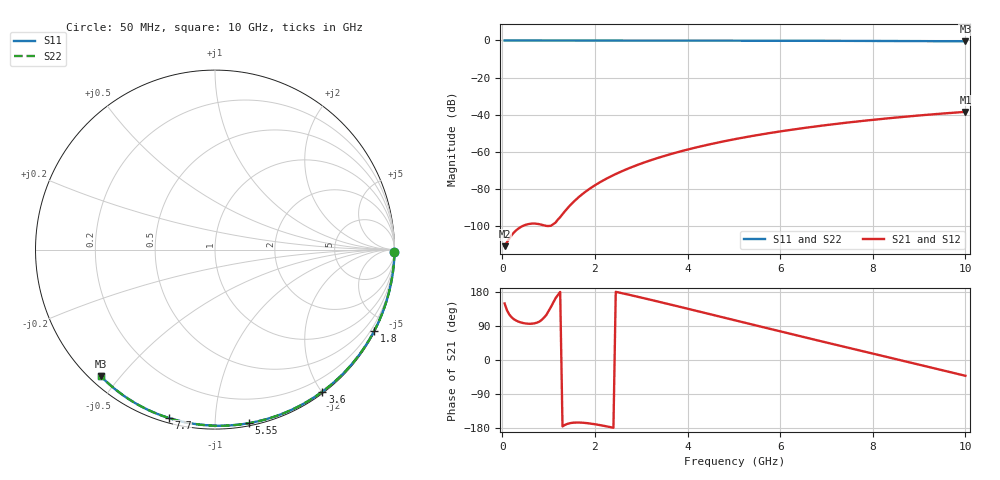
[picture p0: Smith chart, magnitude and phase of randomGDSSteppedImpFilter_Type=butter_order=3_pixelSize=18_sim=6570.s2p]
! freq	dB(S11)	phase(S11)	dB(S12)	phase(S12)
!  dB(S21)	phase(S21)	dB(S22)	phase(S22)
!S-par simulation data
#  GHz  S  DB  R 50
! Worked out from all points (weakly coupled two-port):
!   200 points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, 50 MHz to 10 GHz, reference 50 ohm
!   highest |S21| = -38.47 dB at 10 GHz (marker M1); lowest = -110.8 dB at 50 MHz (marker M2)
!   lowest |S11| = -0.4 dB at 10 GHz (marker M3), VSWR 38.75, Z = 1.55 - j22.3 ohm
!   |S11| at or under -10 dB: nowhere
!   |S22| runs from -0.4 to 0.0 dB; largest |S21 - S12| = 0
!   S11 on the Smith chart (normalised r, x): 50 MHz: open; 1.8 GHz: 0.04, -4.16; 3.6 GHz: 0.02, -2.01; 5.55 GHz: 0.02, -1.21; 7.7 GHz: 0.02, -0.76; 10 GHz: 0.03, -0.45
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0.05  -0.00 -0.8  -110.82 149.1  -110.82 149.1  -0.00 -0.8
0.9  -0.02 -13.6  -99.62 111.7  -99.62 111.7  -0.02 -13.7
1.75  -0.03 -26.3  -82.37 -165.7  -82.37 -165.7  -0.03 -26.3
1.8  -0.03 -27.0  -81.42 -166.2  -81.42 -166.2  -0.03 -27.0
1.85  -0.04 -27.8  -80.52 -166.9  -80.52 -166.9  -0.04 -27.8
1.9  -0.04 -28.5  -79.65 -167.7  -79.65 -167.7  -0.04 -28.5
2.05  -0.04 -30.7  -77.25 -170.5  -77.25 -170.5  -0.04 -30.7
2.25  -0.04 -33.6  -74.43 -175.1  -74.43 -175.1  -0.04 -33.6
2.45  -0.05 -36.5  -71.94 179.9  -71.94 179.9  -0.05 -36.5
2.65  -0.05 -39.4  -69.71 174.6  -69.71 174.6  -0.05 -39.4
3  -0.06 -44.4  -66.30 164.8  -66.30 164.8  -0.06 -44.4
3.4  -0.07 -50.1  -62.96 153.2  -62.96 153.2  -0.07 -50.1
3.6  -0.07 -52.9  -61.47 147.3  -61.47 147.3  -0.07 -52.9
4.3  -0.09 -62.5  -56.96 126.5  -56.96 126.5  -0.09 -62.5
5.05  -0.11 -72.5  -53.03 104.0  -53.03 104.0  -0.11 -72.5
5.55  -0.13 -79.0  -50.80 89.1  -50.80 89.1  -0.13 -79.0
6.1  -0.15 -85.9  -48.63 72.7  -48.63 72.7  -0.15 -86.0
6.7  -0.18 -93.4  -46.53 54.9  -46.53 54.9  -0.18 -93.4
7.7  -0.24 -105.4  -43.56 25.6  -43.56 25.6  -0.24 -105.5
8.35  -0.29 -113.1  -41.89 6.7  -41.89 6.7  -0.29 -113.1
9.15  -0.36 -122.3  -40.09 -16.6  -40.09 -16.6  -0.36 -122.4
10  -0.45 -132.0  -38.47 -41.7  -38.47 -41.7  -0.45 -132.0
